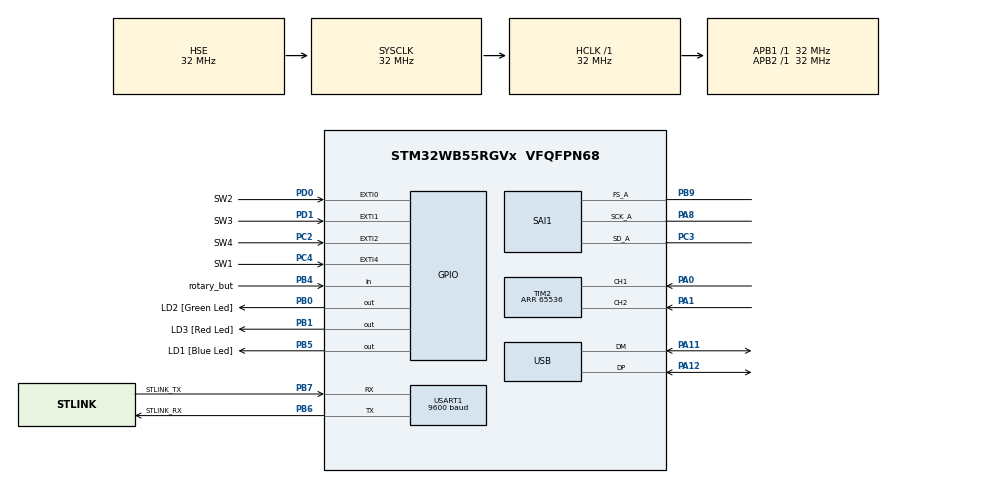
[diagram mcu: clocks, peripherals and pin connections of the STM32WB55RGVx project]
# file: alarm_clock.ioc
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Dma.Request0=SAI1_A
Dma.SAI1_A.0.Direction=DMA_MEMORY_TO_PERIPH
Dma.SAI1_A.0.EventEnable=DISABLE
Dma.SAI1_A.0.Instance=DMA1_Channel1
Dma.SAI1_A.0.MemDataAlignment=DMA_MDATAALIGN_WORD
Dma.SAI1_A.0.MemInc=DMA_MINC_ENABLE
Dma.SAI1_A.0.Mode=DMA_NORMAL
Dma.SAI1_A.0.PeriphDataAlignment=DMA_PDATAALIGN_WORD
Dma.SAI1_A.0.PeriphInc=DMA_PINC_DISABLE
Dma.SAI1_A.0.Polarity=HAL_DMAMUX_REQ_GEN_RISING
Dma.SAI1_A.0.Priority=DMA_PRIORITY_LOW
Dma.SAI1_A.0.RequestNumber=1
Dma.SAI1_A.0.SignalID=NONE
Dma.SAI1_A.0.SyncEnable=DISABLE
Dma.SAI1_A.0.SyncPolarity=HAL_DMAMUX_SYNC_NO_EVENT
Dma.SAI1_A.0.SyncRequestNumber=1
Dma.SAI1_A.0.SyncSignalID=NONE
Mcu.Family=STM32WB
Mcu.Name=STM32WB55RGVx
Mcu.Package=VFQFPN68
NVIC.DMA1_Channel1_IRQn=true\:0\:0\:false\:false\:true\:false\:true
NVIC.EXTI0_IRQn=true\:0\:0\:false\:false\:true\:true\:true
NVIC.EXTI1_IRQn=true\:0\:0\:false\:false\:true\:true\:true
NVIC.EXTI2_IRQn=true\:0\:0\:false\:false\:true\:true\:true
NVIC.EXTI4_IRQn=true\:0\:0\:false\:false\:true\:true\:true
NVIC.PriorityGroup=NVIC_PRIORITYGROUP_4
NVIC.RTC_Alarm_IRQn=true\:0\:0\:false\:false\:true\:true\:true
OSC_IN.Mode=HSE-External-Oscillator
OSC_IN.Signal=RCC_OSC_IN
OSC_OUT.Mode=HSE-External-Oscillator
OSC_OUT.Signal=RCC_OSC_OUT
PA0.Signal=S_TIM2_CH1
PA1.Signal=S_TIM2_CH2
PA11.Mode=Device
PA11.Signal=USB_DM
PA12.Mode=Device
PA12.Signal=USB_DP
PA13.GPIO_Label=JTMS
PA13.Mode=Trace_Asynchronous_SW
PA13.Signal=SYS_JTMS-SWDIO
PA14.GPIO_Label=JTCK
PA14.Mode=Trace_Asynchronous_SW
PA14.Signal=SYS_JTCK-SWCLK
PA8.Mode=SAI_A_Master
PA8.Signal=SAI1_SCK_A
PB0.GPIO_Label=LD2 [Green Led]
PB0.Signal=GPIO_Output
PB1.GPIO_Label=LD3 [Red Led]
PB1.Signal=GPIO_Output
PB3.GPIO_Label=JTDO
PB3.Mode=Trace_Asynchronous_SW
PB3.Signal=SYS_JTDO-SWO
PB4.GPIO_Label=rotary_but
PB4.GPIO_PuPd=GPIO_PULLUP
PB4.Signal=GPIO_Input
PB5.GPIO_Label=LD1 [Blue Led]
PB5.Signal=GPIO_Output
PB6.GPIO_Label=STLINK_RX
PB6.GPIO_PuPd=GPIO_PULLUP
PB6.Mode=Asynchronous
PB6.Signal=USART1_TX
PB7.GPIO_Label=STLINK_TX
PB7.GPIO_PuPd=GPIO_PULLUP
PB7.Mode=Asynchronous
PB7.Signal=USART1_RX
PB9.Mode=SAI_A_Master
PB9.Signal=SAI1_FS_A
PC13.Mode=SYS_WakeUp1
PC13.Signal=SYS_WKUP2
PC14-OSC32_IN.Mode=LSE-External-Oscillator
PC14-OSC32_IN.Signal=RCC_OSC32_IN
PC15-OSC32_OUT.Mode=LSE-External-Oscillator
PC15-OSC32_OUT.Signal=RCC_OSC32_OUT
PC2.GPIO_Label=SW4
PC2.GPIO_ModeDefaultEXTI=GPIO_MODE_IT_FALLING
PC2.GPIO_PuPd=GPIO_PULLUP
PC2.Signal=GPXTI2
PC3.Mode=SAI_A_Master
PC3.Signal=SAI1_SD_A
PC4.GPIO_Label=SW1
PC4.GPIO_ModeDefaultEXTI=GPIO_MODE_IT_FALLING
PC4.GPIO_PuPd=GPIO_PULLUP
PC4.Signal=GPXTI4
PD0.GPIO_Label=SW2
PD0.GPIO_ModeDefaultEXTI=GPIO_MODE_IT_FALLING
PD0.GPIO_PuPd=GPIO_PULLUP
PD0.Signal=GPXTI0
PD1.GPIO_Label=SW3
PD1.GPIO_ModeDefaultEXTI=GPIO_MODE_IT_FALLING
PD1.GPIO_PuPd=GPIO_PULLUP
PD1.Signal=GPXTI1
ProjectManager.HeapSize=0x200
ProjectManager.StackSize=0x400
ProjectManager.TargetToolchain=STM32CubeIDE
RCC.ADCFreq_Value=48000000
RCC.AHBFreq_Value=32000000
RCC.APB1Freq_Value=32000000
RCC.APB1TimFreq_Value=32000000
RCC.APB2Freq_Value=32000000
RCC.APB2TimFreq_Value=32000000
RCC.APB3Freq_Value=16000000
RCC.CortexFreq_Value=32000000
RCC.HCLKFreq_Value=32000000
RCC.HSE_VALUE=32000000
RCC.HSI48_VALUE=48000000
RCC.HSI_VALUE=16000000
RCC.PLLN=32
RCC.PLLSAI1N=24
RCC.SMPSCLockSelectionVirtual=RCC_SMPSCLKSOURCE_HSI
RCC.SMPSCLockSelectionVirtualVirtual=RCC_SMPSCLKSOURCE_HSI
RCC.SMPSDivider=1
RCC.SYSCLKFreq_VALUE=32000000
RCC.SYSCLKSource=RCC_SYSCLKSOURCE_HSE
RCC.USBFreq_Value=48000000
RCC.VCOOutputFreq_Value=128000000
RTC.Alarm-Alarm\ A=RTC_ALARM_A
RTC.AlarmMaskDateWeekDay-Alarm\ A=RTC_ALARMMASK_DATEWEEKDAY
SAI1.AudioFrequency-SAI_A_Master=SAI_AUDIO_FREQUENCY_16K
SAI1.ErrorAudioFreq-SAI_A_Master=-2.34 %
SAI1.InitProtocol-SAI_A_Master=Enable
SAI1.Instance-SAI_A_Master=SAI$Index_Block_A
SAI1.MClockEnable-SAI_A_Master=SAI_MASTERCLOCK_DISABLE
SAI1.RealAudioFreq-SAI_A_Master=15.625 KHz
SAI1.VirtualMode-SAI_A_Master=VM_MASTER
SAI1.VirtualProtocol-SAI_A_BASIC=VM_BASIC_PROTOCOL
SH.S_TIM2_CH1.0=TIM2_CH1,Encoder_Interface
SH.S_TIM2_CH2.0=TIM2_CH2,Encoder_Interface
TIM2.EncoderMode=TIM_ENCODERMODE_TI12
TIM2.IC1Filter=10
TIM2.Period=65536
USART1.BaudRate=9600
USART1.VirtualMode-Asynchronous=VM_ASYNC
USART1.WordLength=WORDLENGTH_8B
VP_RTC_VS_RTC_Activate.Mode=RTC_Enabled
VP_RTC_VS_RTC_Alarm_A_Intern.Mode=Alarm A
VP_RTC_VS_RTC_Calendar.Mode=RTC_Calendar
VP_SAI1_VP_$IpInstance_SAIA_SAI_BASIC.Mode=SAI_A_BASIC
board=P-NUCLEO-WB55-Nucleo

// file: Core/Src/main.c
/* USER CODE BEGIN Header */
/**
  ******************************************************************************
  * @file           : main.c
  * @brief          : Main program body
  ******************************************************************************
  * @attention
  *
  * Copyright (c) 2022 STMicroelectronics.
  * All rights reserved.
  *
  * This software is licensed under terms that can be found in the LICENSE file
  * in the root directory of this software component.
  * If no LICENSE file comes with this software, it is provided AS-IS.
  *
  ******************************************************************************
  */
/* USER CODE END Header */
#include "main.h"
#include "dma.h"
#include "rtc.h"
#include "sai.h"
#include "tim.h"
#include "usart.h"
#include "gpio.h"

/* USER CODE BEGIN Includes */
#include "project_functions.h"

/* USER CODE END Includes */

/* USER CODE BEGIN PD */
#define PI 3.14159265
/* USER CODE END PD */

/* USER CODE BEGIN PV */
int set_time_flag;
int set_alarm_flag;
int alarm_snooze_flag;
int alarm_triggered_flag;
int alarm_off_flag;
/* USER CODE END PV */

void SystemClock_Config(void);
void PeriphCommonClock_Config(void);

int main(void)
{

  /* MCU Configuration--------------------------------------------------------*/

  /* Reset of all peripherals, Initializes the Flash interface and the Systick. */
  HAL_Init();

  /* Configure the system clock */
  SystemClock_Config();

/* Configure the peripherals common clocks */
  PeriphCommonClock_Config();

  /* Initialize all configured peripherals */
  MX_GPIO_Init();
  MX_USART1_UART_Init();
  MX_USB_PCD_Init();
  MX_RTC_Init();
  MX_DMA_Init();
  MX_SAI1_Init();
  MX_TIM2_Init();
  /* USER CODE BEGIN 2 */
  HAL_RTC_MspInit(&hrtc);
  HAL_TIM_Encoder_Start(&htim2, TIM_CHANNEL_ALL);
  char time_msg[50] = {'\0'};
  uint8_t esc_message[50] = {'\0'};
  RTC_TimeTypeDef Time;
  RTC_DateTypeDef Date;

  double dur = .5;
  double fs = 16000.0;
  double f0 = 261.63; // Middle C
  double delta_t = 1.0 / fs;
  double volume = 12000.0;
  int numberOfSamples = 2.0 * dur * fs; // 2 channels * duration (sec) * samples per sec
  int16_t signal[numberOfSamples];
  // Single tone
  double t = 0;
  int count = 0;
  while (count < numberOfSamples) {
	  signal[count] = volume * sin(2.0 * PI * f0 * t); // left
	  signal[count + 1] = signal[count]; // right
	  count += 2;
	  t += delta_t;
  }

  /* USER CODE END 2 */

  /* Infinite loop */
  while (1)
  {

    /* USER CODE BEGIN 3 */

	  HAL_RTC_GetTime(&hrtc, &Time, RTC_FORMAT_BIN);
	  HAL_RTC_GetDate(&hrtc, &Date, RTC_FORMAT_BIN);
	  sprintf(time_msg, "\033[2K%02d:%02d:%02d\r", Time.Hours, Time.Minutes, Time.Seconds);
	  HAL_UART_Transmit(&huart1, (uint8_t *)time_msg, sizeof(time_msg), 100);
	  //sprintf(esc_message, "\033[2K");
	  //HAL_UART_Transmit(&huart1, esc_message, sizeof(esc_message), 100);

	  if (set_time_flag){
	  	  set_time();
	  	  set_time_flag = 0;
	  }
	  if (set_alarm_flag){
		  set_alarm();
		  set_alarm_flag = 0;
	  }
	  if (alarm_triggered_flag){
		  HAL_SAI_Transmit_DMA(&hsai_BlockA1, signal, numberOfSamples);
		  if(Time.Seconds & 1)
			  HAL_GPIO_WritePin(GPIOB,LD1_Pin,GPIO_PIN_SET);
		  else
			  HAL_GPIO_WritePin(GPIOB,LD1_Pin,GPIO_PIN_RESET);
	  }
	  if (alarm_snooze_flag){
		  snooze_alarm();
		  HAL_GPIO_WritePin(GPIOB,LD1_Pin,GPIO_PIN_RESET);
		  HAL_RTC_DeactivateAlarm(&hrtc, RTC_ALARM_A);
		  alarm_triggered_flag = 0;
		  alarm_snooze_flag = 0;
	  }
	  if (alarm_off_flag){
		  alarm_off_flag = 0;
		  alarm_triggered_flag = 0;
		  HAL_RTC_DeactivateAlarm(&hrtc, RTC_ALARM_A);
		  HAL_GPIO_WritePin(GPIOB,LD1_Pin,GPIO_PIN_RESET);
	  }
  }
  /* USER CODE END 3 */
}

void SystemClock_Config(void)
{
  RCC_OscInitTypeDef RCC_OscInitStruct = {0};
  RCC_ClkInitTypeDef RCC_ClkInitStruct = {0};

  /** Macro to configure the PLL multiplication factor
  */
  __HAL_RCC_PLL_PLLM_CONFIG(RCC_PLLM_DIV1);
  /** Macro to configure the PLL clock source
  */
  __HAL_RCC_PLL_PLLSOURCE_CONFIG(RCC_PLLSOURCE_MSI);
  /** Configure LSE Drive Capability
  */
  HAL_PWR_EnableBkUpAccess();
  __HAL_RCC_LSEDRIVE_CONFIG(RCC_LSEDRIVE_LOW);
  /** Configure the main internal regulator output voltage
  */
  __HAL_PWR_VOLTAGESCALING_CONFIG(PWR_REGULATOR_VOLTAGE_SCALE1);
  /** Initializes the RCC Oscillators according to the specified parameters
  * in the RCC_OscInitTypeDef structure.
  */
  RCC_OscInitStruct.OscillatorType = RCC_OSCILLATORTYPE_HSI|RCC_OSCILLATORTYPE_LSI1
                              |RCC_OSCILLATORTYPE_HSE|RCC_OSCILLATORTYPE_LSE
                              |RCC_OSCILLATORTYPE_MSI;
  RCC_OscInitStruct.HSEState = RCC_HSE_ON;
  RCC_OscInitStruct.LSEState = RCC_LSE_ON;
  RCC_OscInitStruct.HSIState = RCC_HSI_ON;
  RCC_OscInitStruct.MSIState = RCC_MSI_ON;
  RCC_OscInitStruct.HSICalibrationValue = RCC_HSICALIBRATION_DEFAULT;
  RCC_OscInitStruct.MSICalibrationValue = RCC_MSICALIBRATION_DEFAULT;
  RCC_OscInitStruct.MSIClockRange = RCC_MSIRANGE_6;
  RCC_OscInitStruct.LSIState = RCC_LSI_ON;
  RCC_OscInitStruct.PLL.PLLState = RCC_PLL_NONE;
  if (HAL_RCC_OscConfig(&RCC_OscInitStruct) != HAL_OK)
  {
    Error_Handler();
  }
  /** Configure the SYSCLKSource, HCLK, PCLK1 and PCLK2 clocks dividers
  */
  RCC_ClkInitStruct.ClockType = RCC_CLOCKTYPE_HCLK4|RCC_CLOCKTYPE_HCLK2
                              |RCC_CLOCKTYPE_HCLK|RCC_CLOCKTYPE_SYSCLK
                              |RCC_CLOCKTYPE_PCLK1|RCC_CLOCKTYPE_PCLK2;
  RCC_ClkInitStruct.SYSCLKSource = RCC_SYSCLKSOURCE_HSE;
  RCC_ClkInitStruct.AHBCLKDivider = RCC_SYSCLK_DIV1;
  RCC_ClkInitStruct.APB1CLKDivider = RCC_HCLK_DIV1;
  RCC_ClkInitStruct.APB2CLKDivider = RCC_HCLK_DIV1;
  RCC_ClkInitStruct.AHBCLK2Divider = RCC_SYSCLK_DIV1;
  RCC_ClkInitStruct.AHBCLK4Divider = RCC_SYSCLK_DIV1;

  if (HAL_RCC_ClockConfig(&RCC_ClkInitStruct, FLASH_LATENCY_1) != HAL_OK)
  {
    Error_Handler();
  }
  /** Enable MSI Auto calibration
  */
  HAL_RCCEx_EnableMSIPLLMode();
}

void PeriphCommonClock_Config(void)
{
  RCC_PeriphCLKInitTypeDef PeriphClkInitStruct = {0};

  /** Initializes the peripherals clock
  */
  PeriphClkInitStruct.PeriphClockSelection = RCC_PERIPHCLK_SMPS|RCC_PERIPHCLK_SAI1
                              |RCC_PERIPHCLK_USB;
  PeriphClkInitStruct.PLLSAI1.PLLN = 24;
  PeriphClkInitStruct.PLLSAI1.PLLP = RCC_PLLP_DIV2;
  PeriphClkInitStruct.PLLSAI1.PLLQ = RCC_PLLQ_DIV2;
  PeriphClkInitStruct.PLLSAI1.PLLR = RCC_PLLR_DIV2;
  PeriphClkInitStruct.PLLSAI1.PLLSAI1ClockOut = RCC_PLLSAI1_SAI1CLK|RCC_PLLSAI1_USBCLK;
  PeriphClkInitStruct.Sai1ClockSelection = RCC_SAI1CLKSOURCE_PLLSAI1;
  PeriphClkInitStruct.UsbClockSelection = RCC_USBCLKSOURCE_PLLSAI1;
  PeriphClkInitStruct.SmpsClockSelection = RCC_SMPSCLKSOURCE_HSI;
  PeriphClkInitStruct.SmpsDivSelection = RCC_SMPSCLKDIV_RANGE0;

  if (HAL_RCCEx_PeriphCLKConfig(&PeriphClkInitStruct) != HAL_OK)
  {
    Error_Handler();
  }
}

void Error_Handler(void)
{
  __disable_irq();
  while (1)
  {
  }
}
